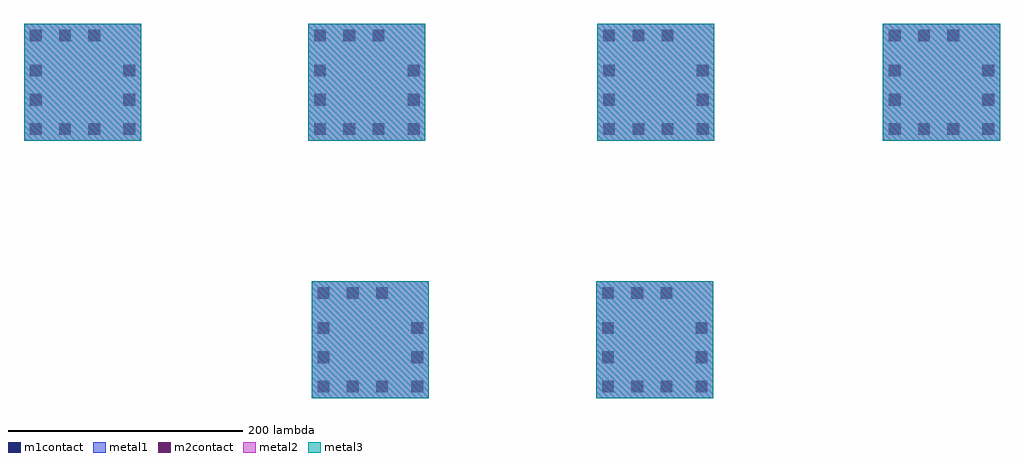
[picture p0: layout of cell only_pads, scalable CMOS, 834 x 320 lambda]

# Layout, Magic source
magic
tech scmos
use pad  pad_0
transform 1 0 -153 0 1 85
box 10 10 110 110
use pad  pad_1
transform 1 0 94 0 1 85
box 10 10 110 110
use pad  pad_3
transform 1 0 -150 0 1 -135
box 10 10 110 110
use pad  pad_4
transform 1 0 -396 0 1 85
box 10 10 110 110
use pad  pad_5
transform 1 0 338 0 1 85
box 10 10 110 110
use pad  pad_2
transform 1 0 93 0 1 -135
box 10 10 110 110
<< end >>

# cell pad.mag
magic
tech scmos
<< metal1 >>
rect 10 10 110 110
<< metal2 >>
rect 10 10 110 110
<< metal3 >>
rect 10 10 110 110
<< m1contact >>
rect 15 15 25 25
rect 15 95 25 105
<< m2contact >>
rect 15 15 25 25
rect 15 95 25 105
<< m1contact >>
rect 40 15 50 25
rect 40 95 50 105
<< m2contact >>
rect 40 15 50 25
rect 40 95 50 105
<< m1contact >>
rect 65 15 75 25
rect 65 95 75 105
<< m2contact >>
rect 65 15 75 25
rect 65 95 75 105
<< m1contact >>
rect 15 15 25 25
rect 95 15 105 25
<< m2contact >>
rect 15 15 25 25
rect 95 15 105 25
<< m1contact >>
rect 15 40 25 50
rect 95 40 105 50
<< m2contact >>
rect 15 40 25 50
rect 95 40 105 50
<< m1contact >>
rect 15 65 25 75
rect 95 65 105 75
<< m2contact >>
rect 15 65 25 75
rect 95 65 105 75
<< labels >>
rlabel metal3 60 60 60 60 1 PAD
<< end >>
